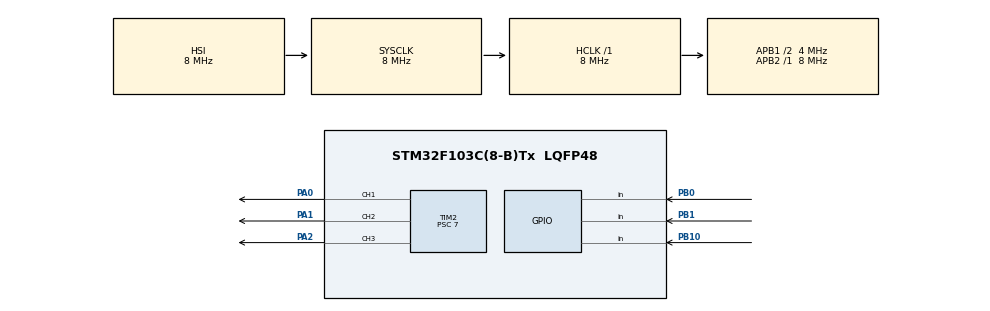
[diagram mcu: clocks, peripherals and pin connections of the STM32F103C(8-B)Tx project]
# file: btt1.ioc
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FREERTOS.Tasks01=defaultTask,0,128,StartDefaultTask,Default,NULL,Dynamic,NULL,NULL
Mcu.Family=STM32F1
Mcu.Name=STM32F103C(8-B)Tx
Mcu.Package=LQFP48
NVIC.PriorityGroup=NVIC_PRIORITYGROUP_4
PA0-WKUP.Signal=S_TIM2_CH1_ETR
PA1.Signal=S_TIM2_CH2
PA13.Mode=Serial_Wire
PA13.Signal=SYS_JTMS-SWDIO
PA14.Mode=Serial_Wire
PA14.Signal=SYS_JTCK-SWCLK
PA2.Signal=S_TIM2_CH3
PB0.GPIO_PuPd=GPIO_PULLUP
PB0.Signal=GPIO_Input
PB1.GPIO_PuPd=GPIO_PULLUP
PB1.Signal=GPIO_Input
PB10.GPIO_PuPd=GPIO_PULLUP
PB10.Signal=GPIO_Input
ProjectManager.HeapSize=0x200
ProjectManager.StackSize=0x400
ProjectManager.TargetToolchain=Makefile
RCC.AHBFreq_Value=8000000
RCC.APB1CLKDivider=RCC_HCLK_DIV2
RCC.APB1Freq_Value=4000000
RCC.APB1TimFreq_Value=8000000
RCC.APB2Freq_Value=8000000
RCC.APB2TimFreq_Value=8000000
RCC.HCLKFreq_Value=8000000
RCC.PLLMUL=RCC_PLL_MUL9
RCC.SYSCLKFreq_VALUE=8000000
RCC.USBFreq_Value=36000000
SH.S_TIM2_CH1_ETR.0=TIM2_CH1,PWM Generation1 CH1
SH.S_TIM2_CH2.0=TIM2_CH2,PWM Generation2 CH2
SH.S_TIM2_CH3.0=TIM2_CH3,PWM Generation3 CH3
TIM2.Channel-PWM\ Generation1\ CH1=TIM_CHANNEL_1
TIM2.Channel-PWM\ Generation2\ CH2=TIM_CHANNEL_2
TIM2.Channel-PWM\ Generation3\ CH3=TIM_CHANNEL_3
TIM2.Prescaler=7
VP_FREERTOS_VS_CMSIS_V1.Mode=CMSIS_V1
VP_TIM2_VS_ClockSourceINT.Mode=Internal
board=custom

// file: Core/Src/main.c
/* USER CODE BEGIN Header */
/*
 * Hoàn thiện: 3 LED PWM băm xung 1kHz bằng TIM2 (PA0, PA1, PA2)
 * Điều khiển bằng 3 nút nhấn (PB0, PB1, PB10) qua FreeRTOS Queue.
 * Xung nhịp: HSI 8MHz (Chống treo chip clone).
 */
/* USER CODE END Header */
#include "main.h"
#include "cmsis_os.h"

TIM_HandleTypeDef htim2;

osThreadId defaultTaskHandle;
/* USER CODE BEGIN PV */
QueueHandle_t qLED1;
QueueHandle_t qLED2;
QueueHandle_t qLED3;
/* USER CODE END PV */

void SystemClock_Config(void);
static void MX_GPIO_Init(void);
static void MX_TIM2_Init(void);
void StartDefaultTask(void const * argument);

/* USER CODE BEGIN PFP */
void Task_Button(void *argument);
void Task_LED1(void *argument);
void Task_LED2(void *argument);
void Task_LED3(void *argument);
/* USER CODE END PFP */

int main(void)
{

  /* MCU Configuration--------------------------------------------------------*/

  /* Reset of all peripherals, Initializes the Flash interface and the Systick. */
  HAL_Init();

  /* Configure the system clock */
  SystemClock_Config();

  /* Initialize all configured peripherals */
  MX_GPIO_Init();
  MX_TIM2_Init();
  /* USER CODE BEGIN 2 */
  // 1. Khởi động PWM
  HAL_TIM_PWM_Start(&htim2, TIM_CHANNEL_1);
  HAL_TIM_PWM_Start(&htim2, TIM_CHANNEL_2);
  HAL_TIM_PWM_Start(&htim2, TIM_CHANNEL_3);

  // 2. Khởi tạo Queue
  qLED1 = xQueueCreate(5, sizeof(uint16_t));
  qLED2 = xQueueCreate(5, sizeof(uint16_t));
  qLED3 = xQueueCreate(5, sizeof(uint16_t));

  // 3. Khởi tạo 4 Task bằng hàm gốc của FreeRTOS
  xTaskCreate(Task_Button, "TaskBtn", 128, NULL, osPriorityNormal, NULL);
  xTaskCreate(Task_LED1,   "TaskL1",  128, NULL, osPriorityNormal, NULL);
  xTaskCreate(Task_LED2,   "TaskL2",  128, NULL, osPriorityNormal, NULL);
  xTaskCreate(Task_LED3,   "TaskL3",  128, NULL, osPriorityNormal, NULL);
  /* USER CODE END 2 */

  /* Create the thread(s) */
  /* definition and creation of defaultTask */
  osThreadDef(defaultTask, StartDefaultTask, osPriorityNormal, 0, 128);
  defaultTaskHandle = osThreadCreate(osThread(defaultTask), NULL);

  /* Start scheduler */
  osKernelStart();

  /* We should never get here as control is now taken by the scheduler */

  /* Infinite loop */
  while (1)
  {

  }
}

void SystemClock_Config(void)
{
  RCC_OscInitTypeDef RCC_OscInitStruct = {0};
  RCC_ClkInitTypeDef RCC_ClkInitStruct = {0};

  /** Initializes the RCC Oscillators according to the specified parameters
  * in the RCC_OscInitTypeDef structure.
  */
  RCC_OscInitStruct.OscillatorType = RCC_OSCILLATORTYPE_HSI;
  RCC_OscInitStruct.HSIState = RCC_HSI_ON;
  RCC_OscInitStruct.HSICalibrationValue = RCC_HSICALIBRATION_DEFAULT;
  RCC_OscInitStruct.PLL.PLLState = RCC_PLL_NONE;
  if (HAL_RCC_OscConfig(&RCC_OscInitStruct) != HAL_OK)
  {
    Error_Handler();
  }

  /** Initializes the CPU, AHB and APB buses clocks
  */
  RCC_ClkInitStruct.ClockType = RCC_CLOCKTYPE_HCLK|RCC_CLOCKTYPE_SYSCLK
                              |RCC_CLOCKTYPE_PCLK1|RCC_CLOCKTYPE_PCLK2;
  RCC_ClkInitStruct.SYSCLKSource = RCC_SYSCLKSOURCE_HSI;
  RCC_ClkInitStruct.AHBCLKDivider = RCC_SYSCLK_DIV1;
  RCC_ClkInitStruct.APB1CLKDivider = RCC_HCLK_DIV2;
  RCC_ClkInitStruct.APB2CLKDivider = RCC_HCLK_DIV1;

  if (HAL_RCC_ClockConfig(&RCC_ClkInitStruct, FLASH_LATENCY_0) != HAL_OK)
  {
    Error_Handler();
  }
}

static void MX_TIM2_Init(void)
{

  TIM_ClockConfigTypeDef sClockSourceConfig = {0};
  TIM_MasterConfigTypeDef sMasterConfig = {0};
  TIM_OC_InitTypeDef sConfigOC = {0};

  htim2.Instance = TIM2;
  htim2.Init.Prescaler = 7;
  htim2.Init.CounterMode = TIM_COUNTERMODE_UP;
  htim2.Init.Period = 65535;
  htim2.Init.ClockDivision = TIM_CLOCKDIVISION_DIV1;
  htim2.Init.AutoReloadPreload = TIM_AUTORELOAD_PRELOAD_DISABLE;
  if (HAL_TIM_Base_Init(&htim2) != HAL_OK)
  {
    Error_Handler();
  }
  sClockSourceConfig.ClockSource = TIM_CLOCKSOURCE_INTERNAL;
  if (HAL_TIM_ConfigClockSource(&htim2, &sClockSourceConfig) != HAL_OK)
  {
    Error_Handler();
  }
  if (HAL_TIM_PWM_Init(&htim2) != HAL_OK)
  {
    Error_Handler();
  }
  sMasterConfig.MasterOutputTrigger = TIM_TRGO_RESET;
  sMasterConfig.MasterSlaveMode = TIM_MASTERSLAVEMODE_DISABLE;
  if (HAL_TIMEx_MasterConfigSynchronization(&htim2, &sMasterConfig) != HAL_OK)
  {
    Error_Handler();
  }
  sConfigOC.OCMode = TIM_OCMODE_PWM1;
  sConfigOC.Pulse = 0;
  sConfigOC.OCPolarity = TIM_OCPOLARITY_HIGH;
  sConfigOC.OCFastMode = TIM_OCFAST_DISABLE;
  if (HAL_TIM_PWM_ConfigChannel(&htim2, &sConfigOC, TIM_CHANNEL_1) != HAL_OK)
  {
    Error_Handler();
  }
  if (HAL_TIM_PWM_ConfigChannel(&htim2, &sConfigOC, TIM_CHANNEL_2) != HAL_OK)
  {
    Error_Handler();
  }
  if (HAL_TIM_PWM_ConfigChannel(&htim2, &sConfigOC, TIM_CHANNEL_3) != HAL_OK)
  {
    Error_Handler();
  }
  HAL_TIM_MspPostInit(&htim2);

}

static void MX_GPIO_Init(void)
{
  GPIO_InitTypeDef GPIO_InitStruct = {0};

  /* GPIO Ports Clock Enable */
  __HAL_RCC_GPIOA_CLK_ENABLE();
  __HAL_RCC_GPIOB_CLK_ENABLE();

  /*Configure GPIO pins : PB0 PB1 PB10 */
  GPIO_InitStruct.Pin = GPIO_PIN_0|GPIO_PIN_1|GPIO_PIN_10;
  GPIO_InitStruct.Mode = GPIO_MODE_INPUT;
  GPIO_InitStruct.Pull = GPIO_PULLUP;
  HAL_GPIO_Init(GPIOB, &GPIO_InitStruct);

}

/* USER CODE BEGIN 4 */
// TASK 1: Đọc nút nhấn và gửi lệnh điều khiển
void Task_Button(void *argument) {
    uint8_t current_led = 0;
    uint16_t brightness[3] = {0, 0, 0};
    uint16_t step = 100;

    for(;;) {
        // Nút 1: Chuyển LED (PB0)
        if (HAL_GPIO_ReadPin(GPIOB, GPIO_PIN_0) == GPIO_PIN_RESET) {
vTaskDelay(pdMS_TO_TICKS(50));
            if (HAL_GPIO_ReadPin(GPIOB, GPIO_PIN_0) == GPIO_PIN_RESET) {
                current_led = (current_led + 1) % 3;
                while(HAL_GPIO_ReadPin(GPIOB, GPIO_PIN_0) == GPIO_PIN_RESET) { vTaskDelay(10); }
            }
        }

        // Nút 2: Tăng độ sáng (PB1)
        if (HAL_GPIO_ReadPin(GPIOB, GPIO_PIN_1) == GPIO_PIN_RESET) {
            vTaskDelay(pdMS_TO_TICKS(50));
            if (HAL_GPIO_ReadPin(GPIOB, GPIO_PIN_1) == GPIO_PIN_RESET) {
                if (brightness[current_led] + step <= 1000) {
                    brightness[current_led] += step;
                }
                if (current_led == 0) xQueueSend(qLED1, &brightness[0], 0);
                else if (current_led == 1) xQueueSend(qLED2, &brightness[1], 0);
                else if (current_led == 2) xQueueSend(qLED3, &brightness[2], 0);
                while(HAL_GPIO_ReadPin(GPIOB, GPIO_PIN_1) == GPIO_PIN_RESET) { vTaskDelay(10); }
            }
        }

        // Nút 3: Giảm độ sáng (PB10)
        if (HAL_GPIO_ReadPin(GPIOB, GPIO_PIN_10) == GPIO_PIN_RESET) {
            vTaskDelay(pdMS_TO_TICKS(50));
            if (HAL_GPIO_ReadPin(GPIOB, GPIO_PIN_10) == GPIO_PIN_RESET) {
                if (brightness[current_led] >= step) {
                    brightness[current_led] -= step;
                }
                if (current_led == 0) xQueueSend(qLED1, &brightness[0], 0);
                else if (current_led == 1) xQueueSend(qLED2, &brightness[1], 0);
                else if (current_led == 2) xQueueSend(qLED3, &brightness[2], 0);
                while(HAL_GPIO_ReadPin(GPIOB, GPIO_PIN_10) == GPIO_PIN_RESET) { vTaskDelay(10); }
            }
        }
        vTaskDelay(pdMS_TO_TICKS(10));
    }
}

// TASK 2: Điều khiển LED 1
void Task_LED1(void *argument) {
    uint16_t rx_val;
    for(;;) {
        if (xQueueReceive(qLED1, &rx_val, portMAX_DELAY) == pdPASS) {
            __HAL_TIM_SET_COMPARE(&htim2, TIM_CHANNEL_1, rx_val);
        }
    }
}

// TASK 3: Điều khiển LED 2
void Task_LED2(void *argument) {
    uint16_t rx_val;
    for(;;) {
        if (xQueueReceive(qLED2, &rx_val, portMAX_DELAY) == pdPASS) {
            __HAL_TIM_SET_COMPARE(&htim2, TIM_CHANNEL_2, rx_val);
        }
    }
}

// TASK 4: Điều khiển LED 3
void Task_LED3(void *argument) {
    uint16_t rx_val;
    for(;;) {
        if (xQueueReceive(qLED3, &rx_val, portMAX_DELAY) == pdPASS) {
            __HAL_TIM_SET_COMPARE(&htim2, TIM_CHANNEL_3, rx_val);
        }
    }
}
/* USER CODE END 4 */

void StartDefaultTask(void const * argument)
{
  for(;;)
  {
    osDelay(1);
  }
}

void Error_Handler(void)
{
  __disable_irq();
  while (1)
  {
  }
}
